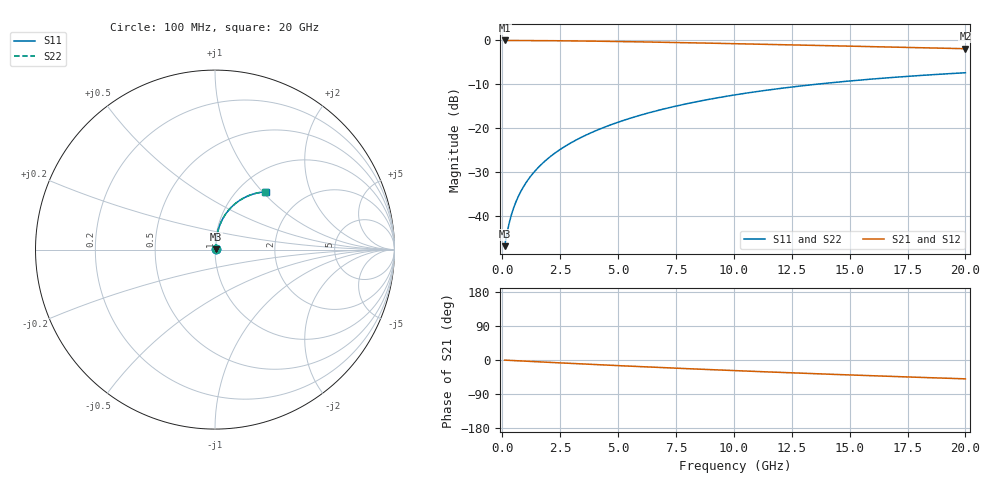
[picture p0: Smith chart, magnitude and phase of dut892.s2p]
! Touchstone file exported from HFSS 2024.1.0
!  File:  C:/UserFiles/LocalFiles/RDL_TSV_Batchsim/temp_RDL_top_892_1779857213.aedt
!  Generated:  12:49:04 PM May 27, 2026
!  Design:  RDL_top
!  Project:  temp_RDL_top_892_1779857213
!  Setup:  Setup1
!  Solution:  Sweep
! Variables:
!  dtsv = 10.80580581um
!  hbump = 3um
!  htsv = 96.97um
!  ldown = 100um
!  lrdl = 695.57um
!  p = 40
!  p1 = 54.1um
!  rhole = 1um
!  t = 450um
!  tdown = 3.915915916um
!  trdl = 3.08um
!  wdown = 15.38538539um
!  wrdl = 22.27um
# GHz S MA R 50.000000
! Terminal data exported
! Port[1] = Box2_T1
! Port[2] = Box2_T2
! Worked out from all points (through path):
!   200 points, 100 MHz to 20 GHz, reference 50 ohm
!   highest |S21| = -0.03 dB at 100 MHz (marker M1); lowest = -1.9 dB at 20 GHz (marker M2)
!   group delay of S21, straight-line fit = 6.87 ps
!   lowest |S11| = -46.8 dB at 100 MHz (marker M3), VSWR 1.01, Z = 50.4 + j0.252 ohm
!   |S11| at or under -10 dB: start of sweep to 13.57 GHz
!   |S22| runs from -46.8 to -7.4 dB; largest |S21 - S12| = 5.6e-15
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0.1  0.004545 33.4  0.9962 -0.3  0.9962 -0.3  0.004545 33.4
! Gamma 0 0 0 0
! Port Impedance 50 0 50 0
0.2  0.006324 51.2  0.996 -0.6  0.996 -0.6  0.006324 51.2
0.3  0.008375 60.2  0.9958 -1.0  0.9958 -1.0  0.008375 60.2
0.4  0.01048 65.5  0.9955 -1.3  0.9955 -1.3  0.01048 65.5
0.5  0.01261 69.0  0.9953 -1.6  0.9953 -1.6  0.01261 69.0
0.6  0.01475 71.5  0.9951 -1.9  0.9951 -1.9  0.01475 71.6
0.8  0.01906 75.0  0.9946 -2.5  0.9946 -2.5  0.01906 75.0
1.1  0.02562 78.1  0.9938 -3.4  0.9938 -3.4  0.02562 78.1
1.3  0.03005 79.4  0.9932 -4.0  0.9932 -4.0  0.03005 79.4
1.6  0.03677 80.7  0.9922 -4.9  0.9922 -4.9  0.03677 80.7
2.1  0.04812 81.8  0.9901 -6.4  0.9901 -6.4  0.04812 81.8
2.7  0.06196 82.2  0.9869 -8.2  0.9869 -8.2  0.06196 82.2
3.5  0.08078 82.0  0.9816 -10.5  0.9816 -10.5  0.08078 82.0
4.2  0.09755 81.4  0.9762 -12.6  0.9762 -12.6  0.09754 81.4
5  0.117 80.4  0.9693 -14.8  0.9693 -14.8  0.117 80.4
6.8  0.1612 77.3  0.9516 -19.8  0.9516 -19.8  0.1612 77.3
8.4  0.2003 73.9  0.9342 -23.9  0.9342 -23.9  0.2003 74.0
10.1  0.2406 70.2  0.9149 -28.2  0.9149 -28.2  0.2406 70.2
11.7  0.2768 66.5  0.8964 -32.0  0.8964 -32.0  0.2768 66.5
13.4  0.3129 62.7  0.8766 -35.9  0.8766 -35.9  0.3129 62.7
16.7  0.3753 55.5  0.8387 -43.1  0.8387 -43.1  0.3754 55.5
20  0.4276 48.8  0.8025 -49.7  0.8025 -49.7  0.4277 48.9
